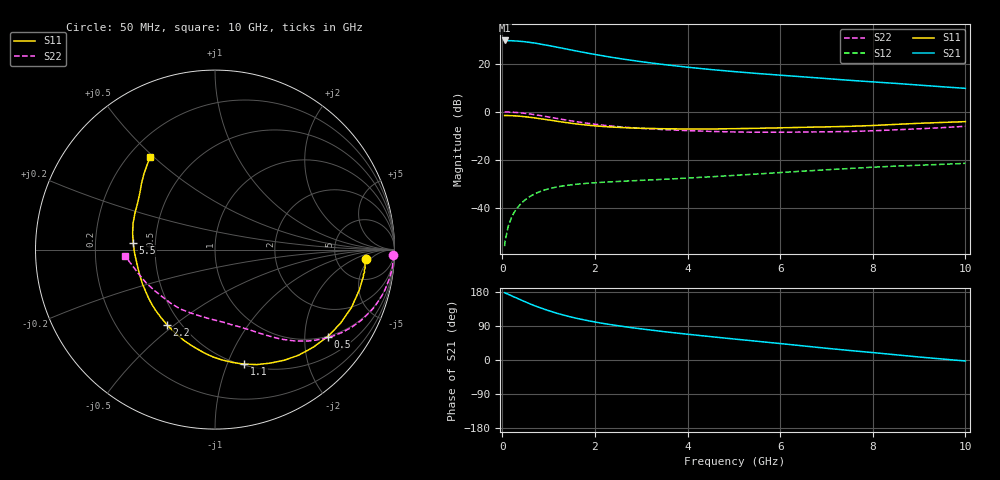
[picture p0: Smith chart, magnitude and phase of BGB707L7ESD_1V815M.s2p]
!  Infineon Technologies AG
!  BGB707L7ESD
!  Vce = 1.8V, Ic = 15.0mA
!  DATUM: 30.06.2009 10:15:52
# GHz  S  MA  R  50
!f  S11  S21  S12  S22
!GHz  Mag  Ang  Mag  Ang  Mag  Ang  Mag  Ang
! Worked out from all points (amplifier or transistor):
!   52 points, 50 MHz to 10 GHz, reference 50 ohm
!   highest |S21| = 29.6 dB at 60 MHz (marker M1)
!   |S21| within 3 dB of that: start of sweep to 1.238 GHz
!   unconditionally stable (mu >= 1): 4.62 GHz to 9.556 GHz
!   at 130 MHz: K = 0.01, MSG = 38.4 dB, |S12| = -47.3 dB
!   at 1.4 GHz: K = 0.37, MSG = 28.2 dB, |S12| = -30.4 dB
!   at 10 GHz: K = 0.96, MSG = 15.5 dB, |S12| = -21.3 dB
!   S11 on the Smith chart (normalised r, x): 50 MHz: 10, -4; 500 MHz: 0.99, -2.59; 1.1 GHz: 0.51, -1.15; 2.2 GHz: 0.42, -0.47; 5.5 GHz: 0.37, +0.03; 10 GHz: 0.29, +0.48
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0.05  0.8417 -3.4  29.68 177.7  0.001649 98.8  0.9931 -1.7
0.06  0.8424 -5.0  30.24 177.1  0.00211 89.0  0.9942 -2.3
0.08  0.8403 -6.0  29.78 175.8  0.002624 88.1  0.9949 -3.4
0.09  0.8432 -7.1  30.06 175.9  0.002825 87.0  0.9949 -3.8
0.13  0.8399 -10.1  30.06 173.3  0.004313 85.5  0.9925 -5.8
0.3  0.8258 -23.1  29.49 164.0  0.009529 77.9  0.973 -13.5
0.5  0.7928 -37.7  28.32 153.3  0.01518 70.5  0.93 -22.0
0.7  0.7507 -51.6  26.69 143.2  0.02004 63.6  0.8755 -29.7
0.8  0.7272 -57.9  25.67 138.7  0.02205 60.8  0.8456 -33.0
0.9  0.7032 -64.1  24.67 134.3  0.02384 57.9  0.8148 -36.2
1.1  0.658 -75.8  22.75 126.3  0.02683 53.2  0.7545 -41.9
1.3  0.6161 -86.3  20.86 119.3  0.02913 49.5  0.6994 -46.8
1.5  0.5796 -95.7  19.11 113.0  0.03091 46.7  0.6498 -50.9
1.8  0.5367 -108.3  16.83 105.1  0.03292 43.6  0.5887 -56.1
2.2  0.4969 -122.7  14.38 96.1  0.03492 41.5  0.5275 -61.9
2.8  0.4649 -139.6  11.7 85.2  0.03735 40.4  0.4692 -69.4
3.5  0.4474 -154.6  9.542 74.7  0.04016 41.2  0.4288 -77.5
4.5  0.4425 -170.9  7.554 61.7  0.04519 43.3  0.3944 -89.2
5.5  0.4573 175.4  6.263 49.5  0.05164 44.8  0.3789 -103.6
7  0.4896 155.8  4.904 31.0  0.06319 44.4  0.3871 -128.5
8.5  0.5513 137.9  3.894 13.7  0.07533 41.0  0.4254 -153.9
10  0.6282 125.2  3.076 -2.6  0.08588 37.1  0.5029 -176.0
